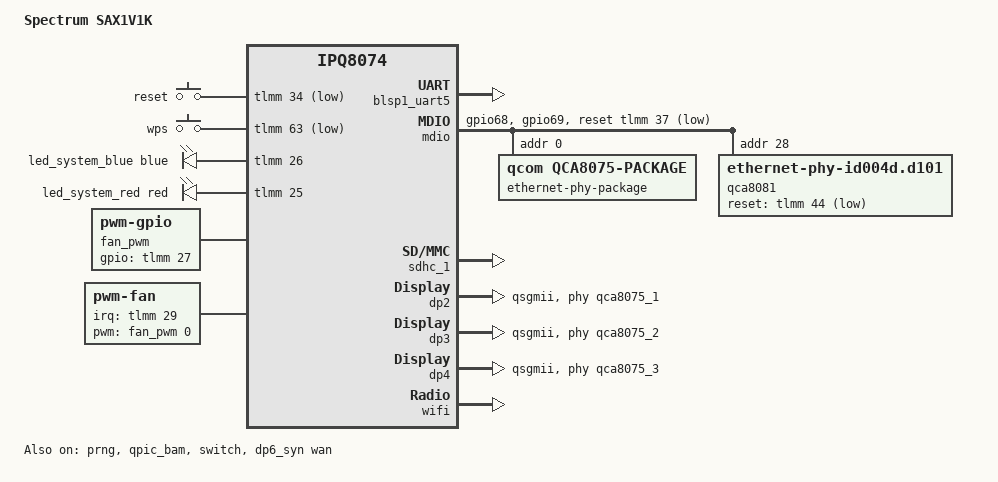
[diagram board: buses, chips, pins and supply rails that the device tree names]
// SPDX-License-Identifier: GPL-2.0-or-later OR MIT

/dts-v1/;

#include "ipq8074.dtsi"
#include "ipq8074-ess.dtsi"
#include "ipq8074-nss.dtsi"
#include "ipq8074-hk-cpu.dtsi"

#include <dt-bindings/gpio/gpio.h>
#include <dt-bindings/input/input.h>
#include <dt-bindings/interrupt-controller/irq.h>
#include <dt-bindings/leds/common.h>

/ {
	model = "Spectrum SAX1V1K";
	compatible = "spectrum,sax1v1k", "qcom,ipq8074";

	aliases {
		led-boot = &led_system_red;
		led-failsafe = &led_system_red;
		led-running = &led_system_blue;
		led-upgrade = &led_system_red;
		serial0 = &blsp1_uart5;
		/* Aliases as required by u-boot to patch MAC addresses */
		ethernet0 = &dp6_syn;
		ethernet1 = &dp4;
		ethernet2 = &dp3;
		ethernet3 = &dp2;
		label-mac-device = &dp6_syn;
	};

	chosen {
		stdout-path = "serial0:115200n8";
	};

	keys {
		compatible = "gpio-keys";

		reset {
			label = "reset";
			gpios = <&tlmm 34 GPIO_ACTIVE_LOW>;
			linux,code = <KEY_RESTART>;
		};

		wps {
			label = "wps";
			gpios = <&tlmm 63 GPIO_ACTIVE_LOW>;
			linux,code = <KEY_WPS_BUTTON>;
		};
	};

	leds {
		compatible = "gpio-leds";

		led_system_blue: system-blue {
			gpios = <&tlmm 26 GPIO_ACTIVE_HIGH>;
			color = <LED_COLOR_ID_BLUE>;
			function = LED_FUNCTION_STATUS;
		};

		led_system_red: system-red {
			gpios = <&tlmm 25 GPIO_ACTIVE_HIGH>;
			color = <LED_COLOR_ID_RED>;
			function = LED_FUNCTION_STATUS;
		};
	};

	/*
	 * The fan has no dedicated PWM input: its speed is set by switching
	 * GPIO 27 on and off, so drive it with the software PWM driver.
	 * The tachometer output is on GPIO 29 and gives 2 pulses per turn.
	 */
	fan_pwm: pwm {
		compatible = "pwm-gpio";
		#pwm-cells = <3>;

		pinctrl-0 = <&fan_pwm_pins>;
		pinctrl-names = "default";

		gpios = <&tlmm 27 GPIO_ACTIVE_HIGH>;
	};

	fan: pwm-fan {
		compatible = "pwm-fan";

		/*
		 * 1 kHz, the period the stock firmware uses. The pin is
		 * toggled from a hrtimer, so keep the frequency low.
		 */
		pwms = <&fan_pwm 0 1000000 0>;

		/* off, 20 %, 30 % */
		cooling-levels = <0 51 77>;
		#cooling-cells = <2>;

		interrupt-parent = <&tlmm>;
		interrupts = <29 IRQ_TYPE_EDGE_FALLING>;
		pulses-per-revolution = <2>;

		pinctrl-0 = <&fan_tach_pins>;
		pinctrl-names = "default";
	};
};

&tlmm {
	fan_pwm_pins: fan-pwm-state {
		pins = "gpio27";
		function = "gpio";
		drive-strength = <8>;
		bias-disable;
		/* keep the fan at full speed until the PWM takes over */
		output-high;
	};

	fan_tach_pins: fan-tach-state {
		pins = "gpio29";
		function = "gpio";
		drive-strength = <2>;
		bias-pull-up;
	};

	mdio_pins: mdio-pins {
		mdc {
			pins = "gpio68";
			function = "mdc";
			drive-strength = <8>;
			bias-pull-up;
		};

		mdio {
			pins = "gpio69";
			function = "mdio";
			drive-strength = <8>;
			bias-pull-up;
		};
	};
};

&blsp1_uart5 {
	status = "okay";
};

&prng {
	status = "okay";
};

&qpic_bam {
	status = "okay";
};

&mdio {
	pinctrl-0 = <&mdio_pins>;
	pinctrl-names = "default";
	reset-gpios = <&tlmm 37 GPIO_ACTIVE_LOW>;
	status = "okay";

	ethernet-phy-package@0 {
		#address-cells = <1>;
		#size-cells = <0>;
		compatible = "qcom,qca8075-package";
		reg = <0>;

		qcom,package-mode = "qsgmii";

		qca8075_1: ethernet-phy@1 {
			compatible = "ethernet-phy-ieee802.3-c22";
			reg = <1>;
		};

		qca8075_2: ethernet-phy@2 {
			compatible = "ethernet-phy-ieee802.3-c22";
			reg = <2>;
		};

		qca8075_3: ethernet-phy@3 {
			compatible = "ethernet-phy-ieee802.3-c22";
			reg = <3>;
		};
	};

	qca8081: ethernet-phy@28 {
		compatible = "ethernet-phy-id004d.d101";
		reg = <28>;
		reset-gpios = <&tlmm 44 GPIO_ACTIVE_LOW>;
		reset-deassert-us = <10000>;

		leds {
			#address-cells = <1>;
			#size-cells = <0>;

			led@0 {
				reg = <0>;
				color = <LED_COLOR_ID_YELLOW>;
				function = LED_FUNCTION_WAN;
				default-state = "keep";
				active-low;
			};

			led@2 {
				reg = <2>;
				color = <LED_COLOR_ID_GREEN>;
				function = LED_FUNCTION_WAN;
				default-state = "keep";
				active-low;
			};
		};
	};
};

&sdhc_1 {
	/* Following same rule as QNAP 301W
	 * the emmc has a problem with the hs400 > hs200 speed switch.
	 * Therefore remove the mmc-hs400-1_8v property
	*/
	/delete-property/ mmc-hs400-1_8v;
	mmc-hs200-1_8v;
	mmc-ddr-1_8v;
	vqmmc-supply = <&l11>;
	status = "okay";
};

&switch {
	switch_lan_bmp = <(ESS_PORT2 | ESS_PORT3 | ESS_PORT4)>; /* lan port bitmap */
	switch_wan_bmp = <ESS_PORT6>; /* wan port bitmap */
	switch_mac_mode = <MAC_MODE_QSGMII>; /* mac mode for uniphy instance0*/
	switch_mac_mode2 = <MAC_MODE_SGMII_PLUS>; /* mac mode for uniphy instance2*/
	status = "okay";

	qcom,port_phyinfo {
		port@2 {
			port_id = <2>;
			phy_address = <1>;
		};

		port@3 {
			port_id = <3>;
			phy_address = <2>;
		};

		port@4 {
			port_id = <4>;
			phy_address = <3>;
		};

		port@6 {
			port_id = <6>;
			phy_address = <28>;
			port_mac_sel = "QGMAC_PORT";
		};
	};
};

&edma {
	status = "okay";
};

&dp2 {
	phy-mode = "qsgmii";
	phy-handle = <&qca8075_1>;
	label = "lan3";
	status = "okay";
};

&dp3 {
	phy-mode = "qsgmii";
	phy-handle = <&qca8075_2>;
	label = "lan2";
	status = "okay";
};

&dp4 {
	phy-mode = "qsgmii";
	phy-handle = <&qca8075_3>;
	label = "lan1";
	status = "okay";
};

&dp6_syn {
	phy-handle = <&qca8081>;
	label = "wan";
	status = "okay";
};

&wifi {
	qcom,ath11k-calibration-variant = "Spectrum-SAX1V1K";
	status = "okay";
};

/*
 * The fan stays off below 70 °C and then runs at 20 % and 30 % of its
 * speed, which keeps it quiet. It is deliberately not spun up further:
 * the CPU is still throttled by the passive trips in ipq8074-hk-cpu.dtsi
 * from 95 °C on and the critical trip at 110 °C shuts the router down, so
 * the fan is not the only protection against overheating. The hysteresis
 * matches the 3 °C margin the fan is only slowed down with again.
 * Attaching it to the CPU and cluster zones, as the other IPQ8074 boards
 * do, makes the thermal core drive the fan from the hottest of them.
 */
&cpu0_thermal {
	trips {
		cpu0_fan_low: fan-low {
			temperature = <70000>;
			hysteresis = <3000>;
			type = "active";
		};

		cpu0_fan_high: fan-high {
			temperature = <80000>;
			hysteresis = <3000>;
			type = "active";
		};
	};

	cooling-maps {
		fan-active-low {
			trip = <&cpu0_fan_low>;
			cooling-device = <&fan 1 1>;
		};

		fan-active-high {
			trip = <&cpu0_fan_high>;
			cooling-device = <&fan 2 2>;
		};
	};
};

&cpu1_thermal {
	trips {
		cpu1_fan_low: fan-low {
			temperature = <70000>;
			hysteresis = <3000>;
			type = "active";
		};

		cpu1_fan_high: fan-high {
			temperature = <80000>;
			hysteresis = <3000>;
			type = "active";
		};
	};

	cooling-maps {
		fan-active-low {
			trip = <&cpu1_fan_low>;
			cooling-device = <&fan 1 1>;
		};

		fan-active-high {
			trip = <&cpu1_fan_high>;
			cooling-device = <&fan 2 2>;
		};
	};
};

&cpu2_thermal {
	trips {
		cpu2_fan_low: fan-low {
			temperature = <70000>;
			hysteresis = <3000>;
			type = "active";
		};

		cpu2_fan_high: fan-high {
			temperature = <80000>;
			hysteresis = <3000>;
			type = "active";
		};
	};

	cooling-maps {
		fan-active-low {
			trip = <&cpu2_fan_low>;
			cooling-device = <&fan 1 1>;
		};

		fan-active-high {
			trip = <&cpu2_fan_high>;
			cooling-device = <&fan 2 2>;
		};
	};
};

&cpu3_thermal {
	trips {
		cpu3_fan_low: fan-low {
			temperature = <70000>;
			hysteresis = <3000>;
			type = "active";
		};

		cpu3_fan_high: fan-high {
			temperature = <80000>;
			hysteresis = <3000>;
			type = "active";
		};
	};

	cooling-maps {
		fan-active-low {
			trip = <&cpu3_fan_low>;
			cooling-device = <&fan 1 1>;
		};

		fan-active-high {
			trip = <&cpu3_fan_high>;
			cooling-device = <&fan 2 2>;
		};
	};
};

&cluster_thermal {
	trips {
		cluster_fan_low: fan-low {
			temperature = <70000>;
			hysteresis = <3000>;
			type = "active";
		};

		cluster_fan_high: fan-high {
			temperature = <80000>;
			hysteresis = <3000>;
			type = "active";
		};
	};

	cooling-maps {
		fan-active-low {
			trip = <&cluster_fan_low>;
			cooling-device = <&fan 1 1>;
		};

		fan-active-high {
			trip = <&cluster_fan_high>;
			cooling-device = <&fan 2 2>;
		};
	};
};
